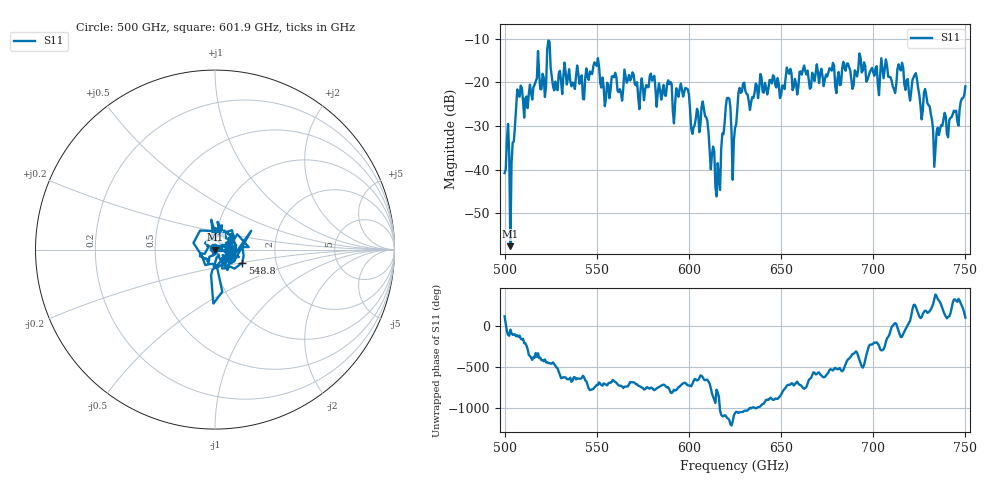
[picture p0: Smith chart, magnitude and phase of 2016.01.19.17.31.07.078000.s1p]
!Created with skrf (http://scikit-rf.org).
# GHz S RI R 50.0
!freq ReS11 ImS11
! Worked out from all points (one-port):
!   401 points, 500 GHz to 750 GHz, reference 50 ohm
!   lowest |S11| = -57.6 dB at 503.1 GHz (marker M1), VSWR 1.00, Z = 50.1 - j0.0977 ohm
!   |S11| at or under -10 dB: start of sweep to end of sweep
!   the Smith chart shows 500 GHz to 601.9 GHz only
!   S11 on the Smith chart (normalised r, x): 500 GHz: 0.99, +0.02; 548.8 GHz: 1.34, -0.20; 601.9 GHz: 1.05, +0.02
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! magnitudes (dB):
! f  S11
! 500 GHz  -40.8
! 503.1 GHz  -57.6
! 504.4 GHz  -33.9
! 508.1 GHz  -23.3
! 521.2 GHz  -19.0
! 524.4 GHz  -10.8
! 527.5 GHz  -19.9
! 531.2 GHz  -22.7
! 548.8 GHz  -15.5
! 562.5 GHz  -21.6
! 568.8 GHz  -19.1
! 593.8 GHz  -22.2
! 598.8 GHz  -21.5
! 601.9 GHz  -31.8
! 608.1 GHz  -26.1
! 615.6 GHz  -38.6
! 620.6 GHz  -23.7
! 625 GHz  -30.5
! 628.8 GHz  -22.2
! 656.2 GHz  -21.8
! 687.5 GHz  -17.3
! 705.6 GHz  -19.1
! 711.2 GHz  -21.6
! 715 GHz  -17.3
! 718.8 GHz  -19.3
! 728.8 GHz  -22.9
! 734.4 GHz  -31.5
! 750 GHz  -21.0
